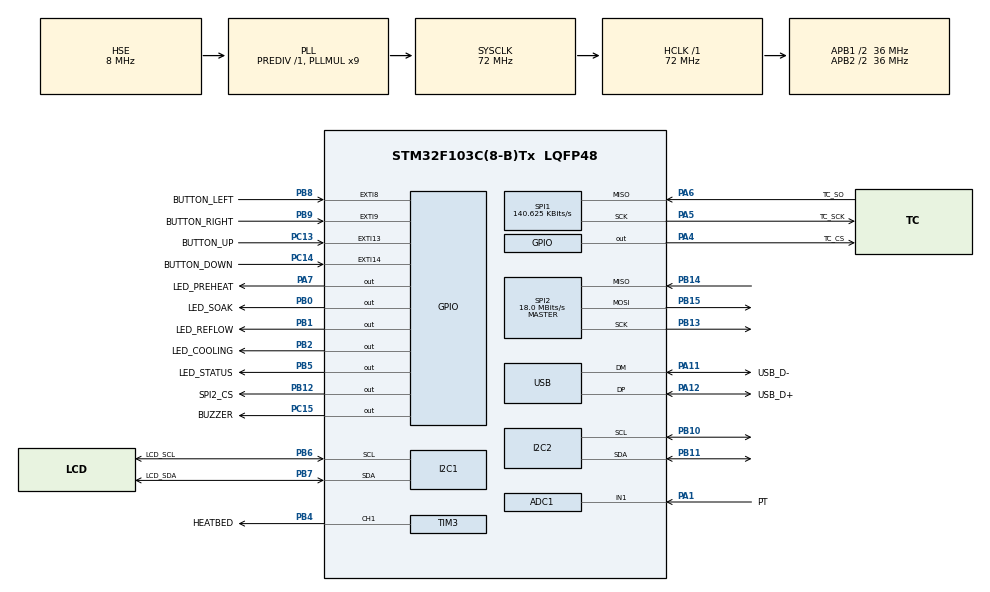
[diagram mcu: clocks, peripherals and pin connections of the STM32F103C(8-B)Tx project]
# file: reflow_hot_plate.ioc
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ADC1.Channel-0\#ChannelRegularConversion=ADC_CHANNEL_1
ADC1.ContinuousConvMode=ENABLE
ADC1.NbrOfConversion=1
ADC1.NbrOfConversionFlag=1
ADC1.Rank-0\#ChannelRegularConversion=1
ADC1.SamplingTime-0\#ChannelRegularConversion=ADC_SAMPLETIME_239CYCLES_5
ADC1.master=1
Dma.ADC1.0.Direction=DMA_PERIPH_TO_MEMORY
Dma.ADC1.0.Instance=DMA1_Channel1
Dma.ADC1.0.MemDataAlignment=DMA_MDATAALIGN_HALFWORD
Dma.ADC1.0.MemInc=DMA_MINC_ENABLE
Dma.ADC1.0.Mode=DMA_CIRCULAR
Dma.ADC1.0.PeriphDataAlignment=DMA_PDATAALIGN_HALFWORD
Dma.ADC1.0.PeriphInc=DMA_PINC_DISABLE
Dma.ADC1.0.Priority=DMA_PRIORITY_LOW
Dma.Request0=ADC1
IWDG.Prescaler=IWDG_PRESCALER_4
IWDG.Reload=2000
Mcu.Family=STM32F1
Mcu.Name=STM32F103C(8-B)Tx
Mcu.Package=LQFP48
NVIC.DMA1_Channel1_IRQn=true\:2\:0\:true\:false\:true\:false\:true\:true
NVIC.EXTI15_10_IRQn=true\:7\:0\:true\:false\:true\:true\:true\:true
NVIC.EXTI9_5_IRQn=true\:7\:0\:true\:false\:true\:true\:true\:true
NVIC.PriorityGroup=NVIC_PRIORITYGROUP_4
NVIC.SPI1_IRQn=true\:2\:0\:true\:false\:true\:true\:true\:true
NVIC.TIM1_UP_IRQn=true\:4\:0\:true\:false\:true\:true\:true\:true
NVIC.TIM2_IRQn=true\:5\:0\:true\:false\:true\:true\:true\:true
NVIC.TIM4_IRQn=true\:6\:0\:true\:false\:true\:true\:true\:true
NVIC.USB_LP_CAN1_RX0_IRQn=true\:3\:0\:true\:false\:true\:false\:true\:true
PA1.GPIO_Label=PT
PA1.Signal=ADCx_IN1
PA11.GPIO_Label=USB_D-
PA11.Mode=Device
PA11.Signal=USB_DM
PA12.GPIO_Label=USB_D+
PA12.Mode=Device
PA12.Signal=USB_DP
PA13.GPIO_Label=SWDIO
PA13.Mode=Trace_Asynchronous_SW
PA13.Signal=SYS_JTMS-SWDIO
PA14.GPIO_Label=SWCLK
PA14.Mode=Trace_Asynchronous_SW
PA14.Signal=SYS_JTCK-SWCLK
PA4.GPIO_Label=TC_CS
PA4.Signal=GPIO_Output
PA5.GPIO_Label=TC_SCK
PA5.Mode=RX_Only_Simplex_Unidirect_Master
PA5.Signal=SPI1_SCK
PA6.GPIO_Label=TC_SO
PA6.Mode=RX_Only_Simplex_Unidirect_Master
PA6.Signal=SPI1_MISO
PA7.GPIO_Label=LED_PREHEAT
PA7.Signal=GPIO_Output
PB0.GPIO_Label=LED_SOAK
PB0.Signal=GPIO_Output
PB1.GPIO_Label=LED_REFLOW
PB1.Signal=GPIO_Output
PB10.Mode=I2C
PB10.Signal=I2C2_SCL
PB11.Mode=I2C
PB11.Signal=I2C2_SDA
PB12.GPIO_Label=SPI2_CS
PB12.Signal=GPIO_Output
PB13.Mode=Full_Duplex_Master
PB13.Signal=SPI2_SCK
PB14.Mode=Full_Duplex_Master
PB14.Signal=SPI2_MISO
PB15.Mode=Full_Duplex_Master
PB15.Signal=SPI2_MOSI
PB2.GPIO_Label=LED_COOLING
PB2.Signal=GPIO_Output
PB3.GPIO_Label=SWO
PB3.Mode=Trace_Asynchronous_SW
PB3.Signal=SYS_JTDO-TRACESWO
PB4.GPIO_Label=HEATBED
PB4.Signal=S_TIM3_CH1
PB5.GPIO_Label=LED_STATUS
PB5.Signal=GPIO_Output
PB6.GPIO_Label=LCD_SCL
PB6.Mode=I2C
PB6.Signal=I2C1_SCL
PB7.GPIO_Label=LCD_SDA
PB7.Mode=I2C
PB7.Signal=I2C1_SDA
PB8.GPIO_Label=BUTTON_LEFT
PB8.GPIO_PuPd=GPIO_PULLUP
PB8.Signal=GPXTI8
PB9.GPIO_Label=BUTTON_RIGHT
PB9.GPIO_PuPd=GPIO_PULLUP
PB9.Signal=GPXTI9
PC13-TAMPER-RTC.GPIO_Label=BUTTON_UP
PC13-TAMPER-RTC.GPIO_PuPd=GPIO_PULLUP
PC13-TAMPER-RTC.Signal=GPXTI13
PC14-OSC32_IN.GPIO_Label=BUTTON_DOWN
PC14-OSC32_IN.GPIO_PuPd=GPIO_PULLUP
PC14-OSC32_IN.Signal=GPXTI14
PC15-OSC32_OUT.GPIO_Label=BUZZER
PC15-OSC32_OUT.Signal=GPIO_Output
PD0-OSC_IN.GPIO_Label=HSE_IN
PD0-OSC_IN.Mode=HSE-External-Oscillator
PD0-OSC_IN.Signal=RCC_OSC_IN
PD1-OSC_OUT.GPIO_Label=HSE_OUT
PD1-OSC_OUT.Mode=HSE-External-Oscillator
PD1-OSC_OUT.Signal=RCC_OSC_OUT
ProjectManager.HeapSize=0x200
ProjectManager.StackSize=0x400
ProjectManager.TargetToolchain=STM32CubeIDE
RCC.ADCPresc=RCC_ADCPCLK2_DIV4
RCC.AHBFreq_Value=72000000
RCC.APB1CLKDivider=RCC_HCLK_DIV2
RCC.APB1Freq_Value=36000000
RCC.APB1TimFreq_Value=72000000
RCC.APB2CLKDivider=RCC_HCLK_DIV2
RCC.APB2Freq_Value=36000000
RCC.APB2TimFreq_Value=72000000
RCC.HCLKFreq_Value=72000000
RCC.PLLMUL=RCC_PLL_MUL9
RCC.PLLSourceVirtual=RCC_PLLSOURCE_HSE
RCC.SYSCLKFreq_VALUE=72000000
RCC.SYSCLKSource=RCC_SYSCLKSOURCE_PLLCLK
RCC.USBFreq_Value=48000000
RCC.USBPrescaler=RCC_USBCLKSOURCE_PLL_DIV1_5
SH.ADCx_IN1.0=ADC1_IN1,IN1
SH.S_TIM3_CH1.0=TIM3_CH1,PWM Generation1 CH1
SPI1.BaudRatePrescaler=SPI_BAUDRATEPRESCALER_256
SPI1.CalculateBaudRate=140.625 KBits/s
SPI1.DataSize=SPI_DATASIZE_16BIT
SPI1.Direction=SPI_DIRECTION_2LINES_RXONLY
SPI1.Mode=SPI_MODE_MASTER
SPI1.VirtualType=VM_MASTER
SPI2.BaudRatePrescaler=SPI_BAUDRATEPRESCALER_2
SPI2.CalculateBaudRate=18.0 MBits/s
SPI2.Direction=SPI_DIRECTION_2LINES
SPI2.Mode=SPI_MODE_MASTER
SPI2.VirtualType=VM_MASTER
TIM1.Channel-Output\ Compare1\ No\ Output=TIM_CHANNEL_1
TIM1.Period=999
TIM1.Prescaler=7199
TIM2.Channel-Output\ Compare1\ No\ Output=TIM_CHANNEL_1
TIM2.Period=999
TIM2.Prescaler=7199
TIM3.AutoReloadPreload=TIM_AUTORELOAD_PRELOAD_ENABLE
TIM3.Channel-PWM\ Generation1\ CH1=TIM_CHANNEL_1
TIM3.OCPolarity_1=TIM_OCPOLARITY_HIGH
TIM3.Period=9999
TIM3.Prescaler=71
TIM3.Pulse-PWM\ Generation1\ CH1=0
TIM4.Period=999
TIM4.Prescaler=7199
USB_DEVICE.APP_RX_DATA_SIZE=128
USB_DEVICE.APP_TX_DATA_SIZE=256
USB_DEVICE.CLASS_NAME_FS=CDC
USB_DEVICE.PRODUCT_STRING_CDC_FS=Reflow Hot Plate
USB_DEVICE.VirtualMode=Cdc
USB_DEVICE.VirtualModeFS=Cdc_FS
VP_IWDG_VS_IWDG.Mode=IWDG_Activate
VP_TIM1_VS_ClockSourceINT.Mode=Internal
VP_TIM1_VS_no_output1.Mode=Output Compare1 No Output
VP_TIM2_VS_ClockSourceINT.Mode=Internal
VP_TIM2_VS_no_output1.Mode=Output Compare1 No Output
VP_TIM3_VS_ClockSourceINT.Mode=Internal
VP_TIM4_VS_ClockSourceINT.Mode=Internal
VP_USB_DEVICE_VS_USB_DEVICE_CDC_FS.Mode=CDC_FS
board=custom

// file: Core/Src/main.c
/* USER CODE BEGIN Header */
/**
 ******************************************************************************
 * @file           : main.c
 * @brief          : Main program body
 ******************************************************************************
 * @attention
 *
 * Copyright (c) 2023 STMicroelectronics.
 * All rights reserved.
 *
 * This software is licensed under terms that can be found in the LICENSE file
 * in the root directory of this software component.
 * If no LICENSE file comes with this software, it is provided AS-IS.
 *
 ******************************************************************************
 */
/* USER CODE END Header */
#include "main.h"
#include "adc.h"
#include "dma.h"
#include "i2c.h"
#include "iwdg.h"
#include "spi.h"
#include "tim.h"
#include "usb_device.h"
#include "gpio.h"

/* USER CODE BEGIN Includes */
#include "menu.h"
#include "fsm.h"
#include "disp.h"
#include "ssd1306.h"
#include "max6675.h"
#include "rtd.h"
#include "pid.h"
#include "pwm.h"
#include "led.h"
#include "com.h"
#include <stdbool.h>
#include <stdio.h>
/* USER CODE END Includes */

void SystemClock_Config(void);

int main(void)
{

    /* MCU Configuration--------------------------------------------------------*/

    /* Reset of all peripherals, Initializes the Flash interface and the Systick. */
    HAL_Init();

    /* Configure the system clock */
    SystemClock_Config();

    /* Initialize all configured peripherals */
    MX_GPIO_Init();
    MX_DMA_Init();
    MX_ADC1_Init();
    MX_I2C1_Init();
    MX_I2C2_Init();
    MX_SPI1_Init();
    MX_SPI2_Init();
    MX_TIM1_Init();
    MX_TIM2_Init();
    MX_TIM3_Init();
    MX_TIM4_Init();
    MX_USB_DEVICE_Init();
    MX_IWDG_Init();
    /* USER CODE BEGIN 2 */
    HAL_ADCEx_Calibration_Start(&hadc1);
    HAL_ADC_Start_DMA(&hadc1, (uint32_t*)RTD_ADC_REGISTER, RTD_SAMPLES);

    HAL_TIM_Base_Start_IT(&htim1); // (10 Hz) Control loop
    HAL_TIM_Base_Start_IT(&htim2); // (10 Hz) GUI update
    HAL_TIM_PWM_Start(&htim3, TIM_CHANNEL_1); // (100 Hz) Heatbed driver

    LED_SetState(LED_ON);

    ssd1306_Init();

    MENU_Init(&hmenu);

    HAL_GPIO_WritePin(MAX6675_CS_PORT, MAX6675_CS_PIN, GPIO_PIN_SET);
    HAL_GPIO_WritePin(BUZZER_GPIO_Port, BUZZER_Pin, GPIO_PIN_SET);
    /* USER CODE END 2 */

    /* Infinite loop */
    /* USER CODE BEGIN WHILE */
    while(1) {
        // Redraw the screen
        if(LCD_REDRAW) {
            LCD_REDRAW = false;
            ssd1306_Fill(Black);

            switch(hfsm.state) {
                case FSM_WELCOME:
                    LCD_DrawWelcome();
                    break;

                case FSM_MENU:
                    LCD_DrawMenu(&hmenu);
                    break;

                case FSM_PRECHECK:
                    LCD_DrawPrompt(LCD_WAITING);
                    break;

                case FSM_HEATING:
                    LCD_DrawProcessInfo(&hfsm);
                    break;

                case FSM_DONE:
                    LCD_DrawPrompt(LCD_DONE);
                    break;

                case FSM_ABORTED:
                    LCD_DrawPrompt(LCD_ABORTED);
                    break;

                case FSM_ERROR:
                    LCD_DrawPrompt(LCD_ERROR);
                    break;

                default:
                    break;
            }

            ssd1306_UpdateScreen();
        }

        // Receive data from the MAX6675
        MAX6675_ReceiveData();

        // Send a message over the USB CDC
        if(hcom.send_message) {
            hcom.send_message = false;
            COM_SendMsg(&hfsm);
        }
        /* USER CODE END WHILE */

    }
}

void SystemClock_Config(void)
{
    RCC_OscInitTypeDef RCC_OscInitStruct = { 0 };
    RCC_ClkInitTypeDef RCC_ClkInitStruct = { 0 };
    RCC_PeriphCLKInitTypeDef PeriphClkInit = { 0 };

    /** Initializes the RCC Oscillators according to the specified parameters
     * in the RCC_OscInitTypeDef structure.
     */
    RCC_OscInitStruct.OscillatorType = RCC_OSCILLATORTYPE_LSI | RCC_OSCILLATORTYPE_HSE;
    RCC_OscInitStruct.HSEState = RCC_HSE_ON;
    RCC_OscInitStruct.HSEPredivValue = RCC_HSE_PREDIV_DIV1;
    RCC_OscInitStruct.HSIState = RCC_HSI_ON;
    RCC_OscInitStruct.LSIState = RCC_LSI_ON;
    RCC_OscInitStruct.PLL.PLLState = RCC_PLL_ON;
    RCC_OscInitStruct.PLL.PLLSource = RCC_PLLSOURCE_HSE;
    RCC_OscInitStruct.PLL.PLLMUL = RCC_PLL_MUL9;
    if(HAL_RCC_OscConfig(&RCC_OscInitStruct) != HAL_OK)
            {
        Error_Handler();
    }

    /** Initializes the CPU, AHB and APB buses clocks
     */
    RCC_ClkInitStruct.ClockType = RCC_CLOCKTYPE_HCLK | RCC_CLOCKTYPE_SYSCLK
            | RCC_CLOCKTYPE_PCLK1 | RCC_CLOCKTYPE_PCLK2;
    RCC_ClkInitStruct.SYSCLKSource = RCC_SYSCLKSOURCE_PLLCLK;
    RCC_ClkInitStruct.AHBCLKDivider = RCC_SYSCLK_DIV1;
    RCC_ClkInitStruct.APB1CLKDivider = RCC_HCLK_DIV2;
    RCC_ClkInitStruct.APB2CLKDivider = RCC_HCLK_DIV2;

    if(HAL_RCC_ClockConfig(&RCC_ClkInitStruct, FLASH_LATENCY_2) != HAL_OK)
            {
        Error_Handler();
    }
    PeriphClkInit.PeriphClockSelection = RCC_PERIPHCLK_ADC | RCC_PERIPHCLK_USB;
    PeriphClkInit.AdcClockSelection = RCC_ADCPCLK2_DIV4;
    PeriphClkInit.UsbClockSelection = RCC_USBCLKSOURCE_PLL_DIV1_5;
    if(HAL_RCCEx_PeriphCLKConfig(&PeriphClkInit) != HAL_OK)
            {
        Error_Handler();
    }
}

/* USER CODE BEGIN 4 */
/**
 * @brief  Period elapsed callback in non-blocking mode
 * @param  htim: TIM handle
 * @retval None
 */
void HAL_TIM_PeriodElapsedCallback(TIM_HandleTypeDef *htim)
{
    if(htim == &htim1) {
        // Get readings from both sensors (in centigrades)
        hfsm.tc_temperature = MAX6675_GetTemperature();
        hfsm.rtd_temperature = RTD_GetTemperature();

        // Use the higher temperature reading
        hfsm.temperature = (hfsm.tc_temperature > hfsm.rtd_temperature) ? hfsm.tc_temperature : hfsm.rtd_temperature;

        bool error = false;

        // Check for open circuit
        if(hfsm.tc_temperature == MAX6675_TC_OPEN || hfsm.rtd_temperature == RTD_PROBE_OPEN) {
            error = true;
        }

        // Check implasibility of sensor readings
        if(abs(hfsm.tc_temperature - hfsm.rtd_temperature) > TEMPERATURE_IMPL * 100) {
            error = true;
        }

        // Check for temperature out of the range
        if(hfsm.temperature < TEMPERATURE_MIN * 100 || hfsm.temperature > TEMPERATURE_MAX * 100) {
            error = true;
        }

        // Enter an error state if the error flag remains raised for long enough
        if(error) {
            hfsm.error_duration += 1;
            if(hfsm.error_duration > MAXIMUM_CYCLES) {
                hfsm.state = FSM_ERROR;
                hfsm.error_duration = 0;
            }
        } else {
            hfsm.error_duration = 0;
        }

        switch(hfsm.state) {
            case FSM_PRECHECK:
                // Start the process only if the temperature is within the desired range
                if(hfsm.temperature < hfsm.profile[0] * 100 + PRECHECK_DEVIATION * 100) {
                    hfsm.state = FSM_HEATING;
                    hfsm.duration = 0;
                }
                break;

            case FSM_HEATING:
                uint32_t duration_seconds = hfsm.duration / 1000;

                if(duration_seconds < hfsm.profile_duration) {
                    hfsm.target_temperature = hfsm.profile[duration_seconds];
                    hfsm.output = PID_GetOutput(hfsm.temperature / 100.0f, hfsm.target_temperature);

                    // Determine the process stage based on the current time
                    for(int i = 0; i < 4; i++) {
                        if(duration_seconds >= hfsm.stages[i]) {
                            hfsm.stage = i;
                        } else {
                            break;
                        }
                    }
                } else {
                    hfsm.state = FSM_DONE;
                }
                break;

            case FSM_DONE:
                HAL_GPIO_WritePin(BUZZER_GPIO_Port, BUZZER_Pin, GPIO_PIN_SET);
                hfsm.target_temperature = 0;
                hfsm.output = 0;
                break;

            default:
                HAL_GPIO_WritePin(BUZZER_GPIO_Port, BUZZER_Pin, GPIO_PIN_RESET);
                hfsm.target_temperature = 0;
                hfsm.output = 0;
                break;
        }

        PWM_SetDutyCycle(&htim3, TIM_CHANNEL_1, hfsm.output);
        HAL_IWDG_Refresh(&hiwdg); // 200 ms timeout

        hfsm.duration += 100;
    } else if(htim == &htim2) {
        LCD_ScheduleRedraw();

        if(hfsm.state != FSM_WELCOME) {
            // Check if a message has been received
            if(hcom.data_received) {
                hcom.data_received = false;

                if(hcom.buffer[0] == '1') {
                    hfsm.state = FSM_PRECHECK;
                } else if(hcom.buffer[0] == '0') {
                    hfsm.state = FSM_ABORTED;
                }
            }

            if(hfsm.state == FSM_HEATING) {
                LED_SetState(hfsm.stage);
            } else {
                LED_SetState(LED_OFF);
            }

            COM_ScheduleSend();
        } else {
            if(HAL_GetTick() > STARTUP_DELAY) {
                if(hfsm.state == FSM_WELCOME) {
                    hfsm.state = FSM_MENU;
                }
            }
        }
    } else if(htim == &htim4) {
        printf("Stopping TIM4: %lu\n\n", HAL_GetTick());
        HAL_TIM_Base_Stop_IT(&htim4);
        hmenu.debouncing = false;
    }
}

/**
 * @brief  EXTI line detection callbacks
 * @param  GPIO_Pin: Specifies the pins connected EXTI line
 * @retval None
 */
void HAL_GPIO_EXTI_Callback(uint16_t GPIO_Pin)
{
    // Check if buttons are being debounced
    if(hmenu.debouncing) {
        uint32_t counter_value = __HAL_TIM_GET_COUNTER(&htim4);
        uint32_t timer_frequency = HAL_RCC_GetHCLKFreq() / (htim4.Init.Prescaler + 1);
        uint32_t time = (counter_value * 1000) / timer_frequency;
        printf("Debouncing: %lu\n", time);

        return;
    } else {
        // Ignore button callbacks from now on
        printf("Starting TIM4: %lu\n", HAL_GetTick());
        hmenu.debouncing = true;

        // Clear the interrupt flag, otherwise the update callback will be called
        __HAL_TIM_CLEAR_IT(&htim4, TIM_IT_UPDATE);
        __HAL_TIM_SET_COUNTER(&htim4, 0);

        HAL_TIM_Base_Start_IT(&htim4); // 100 ms
    }

    // Handle button events based on the current state
// @formatter:off
    switch(hfsm.state) {
        case FSM_WELCOME:
        case FSM_DONE:
        case FSM_ABORTED:
        case FSM_ERROR:
        case FSM_PRECHECK:
            HAL_GPIO_WritePin(BUZZER_GPIO_Port, BUZZER_Pin, GPIO_PIN_RESET);
            hfsm.state = FSM_MENU;
            return;

        default:
            break;
    }
// @formatter:on

    switch(hfsm.state) {
        case FSM_MENU:
            if(GPIO_Pin == BUTTON_UP_Pin) {
                MENU_Prev(&hmenu);
            } else if(GPIO_Pin == BUTTON_DOWN_Pin) {
                MENU_Next(&hmenu);
            } else if(GPIO_Pin == BUTTON_RIGHT_Pin) {
                FSM_SetActiveProfile(&hmenu, &hfsm);
                hfsm.state = FSM_PRECHECK;
            }
            break;

        case FSM_HEATING:
            if(GPIO_Pin == BUTTON_LEFT_Pin) {
                hfsm.state = FSM_ABORTED;
            }
            break;

        default:
            break;
    }
}

/**
 * @brief  SPI RX transfer callback
 * @param  hspi: SPI handle
 * @retval None
 */
void HAL_SPI_RxCpltCallback(SPI_HandleTypeDef *hspi)
{
    if(hspi == &hspi1) {
        MAX6675_CalculateTemperature();
    }
}
/* USER CODE END 4 */

void Error_Handler(void)
{
    __disable_irq();
    while(1) {
    }
}

#ifdef  USE_FULL_ASSERT
/**
 * @brief  Reports the name of the source file and the source line number
 *         where the assert_param error has occurred.
 * @param  file: pointer to the source file name
 * @param  line: assert_param error line source number
 * @retval None
 */
void assert_failed(uint8_t *file, uint32_t line)
{
    /* USER CODE BEGIN 6 */
    printf("Wrong parameters value: file %s on line %lu\r\n", file, line);
    /* USER CODE END 6 */
}
#endif /* USE_FULL_ASSERT */
